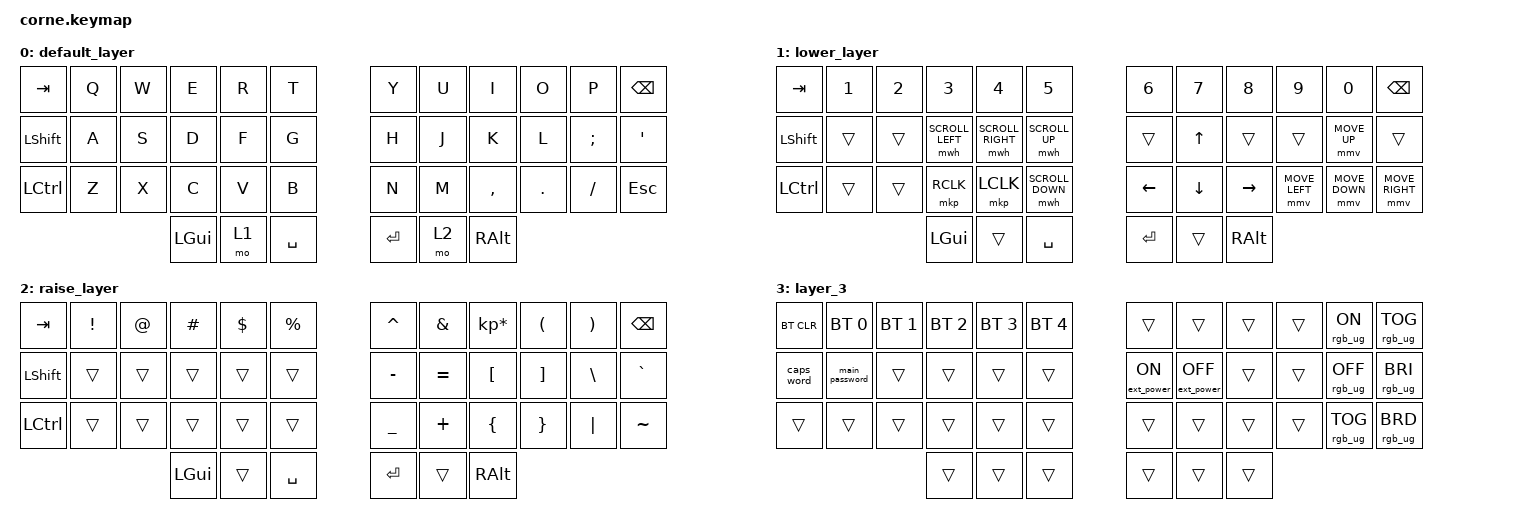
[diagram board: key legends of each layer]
/*
 * Copyright (c) 2020 The ZMK Contributors
 *
 * SPDX-License-Identifier: MIT
 */

#include <dt-bindings/zmk/mouse.h>
#include <behaviors.dtsi>
#include <dt-bindings/zmk/bt.h>
#include <dt-bindings/zmk/keys.h>
#include <dt-bindings/zmk/rgb.h>
#include <dt-bindings/zmk/ext_power.h>

/ {
    macros {
        main_password: main_password {
            compatible = "zmk,behavior-macro";
            #binding-cells = <0>;
            bindings = <&kp N1 &kp N2 &kp N3 &kp N4 &kp N5 &kp N6>;
            label = "MAIN_PASSWORD";
        };
    };

    keymap {
        compatible = "zmk,keymap";

        default_layer {
            // -----------------------------------------------------------------------------------------
            // |  TAB |  Q  |  W  |  E  |  R  |  T  |   |  Y  |  U   |  I  |  O  |  P  | BKSP |
            // | CTRL |  A  |  S  |  D  |  F  |  G  |   |  H  |  J   |  K  |  L  |  ;  |  '   |
            // | SHFT |  Z  |  X  |  C  |  V  |  B  |   |  N  |  M   |  ,  |  .  |  /  | ESC  |
            //                    | GUI | LWR | SPC |   | ENT | RSE  | ALT |

            bindings = <
&kp TAB    &kp Q  &kp W  &kp E     &kp R  &kp T        &kp Y    &kp U  &kp I      &kp O    &kp P     &kp BSPC
&kp LSHFT  &kp A  &kp S  &kp D     &kp F  &kp G        &kp H    &kp J  &kp K      &kp L    &kp SEMI  &kp SQT
&kp LCTRL  &kp Z  &kp X  &kp C     &kp V  &kp B        &kp N    &kp M  &kp COMMA  &kp DOT  &kp FSLH  &kp ESC
                         &kp LGUI  &mo 1  &kp SPACE    &kp RET  &mo 2  &kp RALT
            >;
        };

        lower_layer {
            // -----------------------------------------------------------------------------------------
            // |  TAB |  1  |  2  |  3  |  4  |  5  |   |  6  |  7  |  8  |  9  |  0  | BKSP |
            // | BTCLR| BT1 | BT2 | BT3 | BT4 | BT5 |   | LFT | DWN |  UP | RGT |     |      |
            // | SHFT | EP_TOG |  |     |     |     |   | MOVE_UP |    |     |     |     |      |
            //                    | GUI |     | SPC |   | ENT |     | ALT |

            bindings = <
&kp TAB    &kp N1  &kp N2  &kp N3            &kp N4             &kp N5              &kp N6          &kp N7          &kp N8     &kp N9          &kp N0          &kp BSPC
&kp LSHFT  &trans  &trans  &mwh SCROLL_LEFT  &mwh SCROLL_RIGHT  &mwh SCROLL_UP      &trans          &kp UP_ARROW    &trans     &trans          &mmv MOVE_UP    &trans
&kp LCTRL  &trans  &trans  &mkp RCLK         &mkp LCLK          &mwh SCROLL_DOWN    &kp LEFT_ARROW  &kp DOWN_ARROW  &kp RIGHT  &mmv MOVE_LEFT  &mmv MOVE_DOWN  &mmv MOVE_RIGHT
                           &kp LGUI          &trans             &kp SPACE           &kp RET         &trans          &kp RALT
            >;
        };

        raise_layer {
            // -----------------------------------------------------------------------------------------
            // |  TAB |  !  |  @  |  #  |  $  |  %  |   |  ^  |  &  |  *  |  (  |  )  | BKSP |
            // | CTRL |     |     |     |     |     |   |  -  |  =  |  [  |  ]  |  \  |  `   |
            // | SHFT |     |     |     |     |     |   |  _  |  +  |  {  |  }  | "|" |  ~   |
            //                    | GUI |     | SPC |   | ENT |     | ALT |

            bindings = <
&kp TAB    &kp EXCL  &kp AT  &kp HASH  &kp DLLR  &kp PRCNT    &kp CARET  &kp AMPS   &kp KP_MULTIPLY  &kp LPAR  &kp RPAR  &kp BSPC
&kp LSHFT  &trans    &trans  &trans    &trans    &trans       &kp MINUS  &kp EQUAL  &kp LBKT         &kp RBKT  &kp BSLH  &kp GRAVE
&kp LCTRL  &trans    &trans  &trans    &trans    &trans       &kp UNDER  &kp PLUS   &kp LBRC         &kp RBRC  &kp PIPE  &kp TILDE
                             &kp LGUI  &trans    &kp SPACE    &kp RET    &trans     &kp RALT
            >;
        };

        layer_3 {
            bindings = <
&bt BT_CLR  &bt BT_SEL 0    &bt BT_SEL 1  &bt BT_SEL 2  &bt BT_SEL 3  &bt BT_SEL 4    &trans  &trans  &trans  &trans  &rgb_ug RGB_ON   &rgb_ug RGB_TOG
&caps_word  &main_password  &trans        &trans        &trans        &trans          &ext_power EP_ON  &ext_power EP_OFF  &trans  &trans  &rgb_ug RGB_OFF  &rgb_ug RGB_BRI
&trans      &trans          &trans        &trans        &trans        &trans          &trans  &trans  &trans  &trans  &rgb_ug RGB_TOG  &rgb_ug RGB_BRD
                                          &trans        &trans        &trans          &trans  &trans  &trans
            >;
        };
    };

    conditional_layers {
        compatible = "zmk,conditional-layers";

        controling {
            if-layers = <2 1>;
            then-layer = <3>;
        };
    };
};
